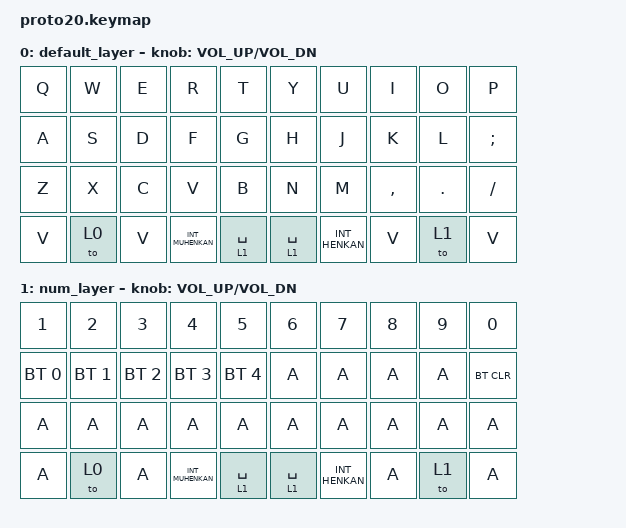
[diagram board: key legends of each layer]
#include <behaviors.dtsi>
#include <dt-bindings/zmk/keys.h>
#include <dt-bindings/zmk/bt.h>
/ {
    keymap {
        compatible = "zmk,keymap";

        default_layer {
            bindings = <
            &kp Q   &kp W   &kp E   &kp R   &kp T   &kp Y   &kp U   &kp I   &kp O   &kp P
            &kp A   &kp S   &kp D   &kp F   &kp G   &kp H   &kp J   &kp K   &kp L   &kp SEMI
            &kp Z   &kp X   &kp C   &kp V   &kp B   &kp N   &kp M   &kp COMMA   &kp DOT   &kp SLASH
            &kp V   &to 0   &kp V   &kp INT_MUHENKAN   &lt 1 SPACE  &lt 1 SPACE  &kp INT_HENKAN   &kp V   &to 1   &kp V
            >;
            sensor-bindings = <&inc_dec_kp C_VOL_UP C_VOL_DN>;
        };

        num_layer {
            bindings = <
            &kp N1   &kp N2   &kp N3   &kp N4   &kp N5   &kp N6   &kp N7   &kp N8   &kp N9   &kp N0
            &bt BT_SEL 0   &bt BT_SEL 1  &bt BT_SEL 2   &bt BT_SEL 3   &bt BT_SEL 4   &kp A   &kp A   &kp A   &kp A   &bt BT_CLR
            &kp A   &kp A   &kp A   &kp A   &kp A   &kp A   &kp A   &kp A   &kp A   &kp A
            &kp A   &to 0   &kp A   &kp INT_MUHENKAN   &lt 1 SPACE  &lt 1 SPACE  &kp INT_HENKAN   &kp A   &to 1   &kp A
            >;
            sensor-bindings = <&inc_dec_kp C_VOL_UP C_VOL_DN>;
        };

    };
};
